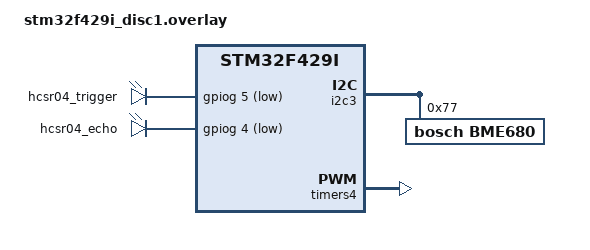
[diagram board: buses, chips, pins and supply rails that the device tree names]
/ {
    leds {
        // Add Trigger on PG5
        hcsr04_trigger: hcsr04_trig {
            gpios = <&gpiog 5 GPIO_ACTIVE_LOW>;
        };
        hcsr04_echo: hcsr04_ech {
            gpios = <&gpiog 4 GPIO_ACTIVE_LOW>;
        };
    };

    aliases {
        ultrasonictrigger = &hcsr04_trigger;
        ultrasonicecho = &hcsr04_echo;
    };

    chosen {
        perso,bme680 = &bme680;
    };
};

&i2c3 {
    bme680: bme680@77 {
        compatible = "bosch,bme680";
        reg = <0x77>;
        label = "BME680";
    };
};

&timers4 {
    status = "okay";
    st,prescaler = <1000>;

    pwm4: pwm {
        status = "okay";
        pinctrl-0 = <&tim4_ch4_pd15>;
        pinctrl-names = "default";
    };
};

// Define the servo node with a unique label
&pwm4 {
    servo: servo {
        compatible = "pwm-servo";
        pwms = <&pwm4 0 PWM_MSEC(20) PWM_POLARITY_NORMAL>;
        min-pulse = <PWM_USEC(700)>;
        max-pulse = <PWM_USEC(2500)>;
    };
};
